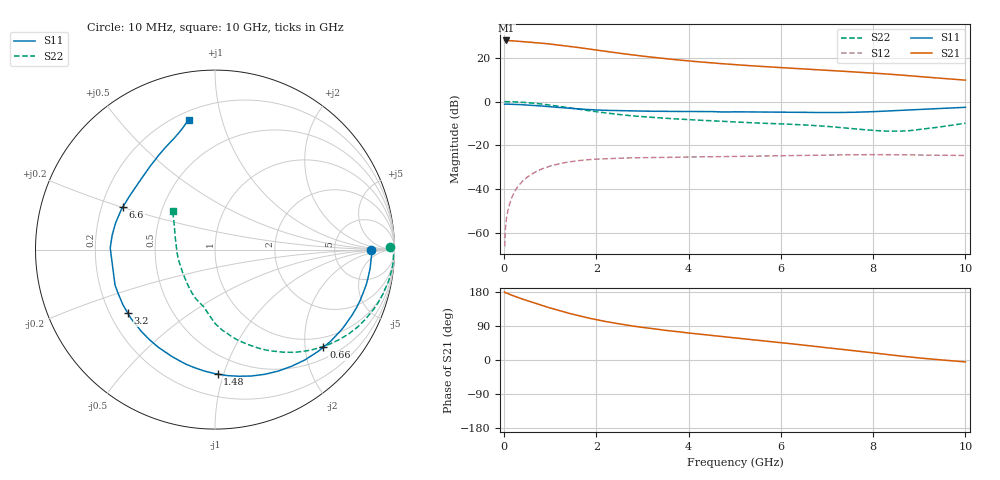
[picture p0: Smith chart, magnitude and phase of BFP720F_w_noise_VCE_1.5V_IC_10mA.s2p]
! Infineon Technologies  Discrete & RF Semiconductors
! BFP720F
! VCE =  1.5 V,  IC =  10 mA
! Common Emitter S-Parameters:  Jan 2016
# GHz  S  MA  R  50
!  f  S11  S21  S12  S22
! GHz  MAG  ANG  MAG  ANG  MAG  ANG  MAG  ANG
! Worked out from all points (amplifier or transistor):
!   233 points, 10 MHz to 10 GHz, reference 50 ohm
!   highest |S21| = 27.9 dB at 50 MHz (marker M1)
!   |S21| within 3 dB of that: start of sweep to 1.522 GHz
!   unconditionally stable (mu >= 1): start of sweep to 12.77 MHz; 6.845 GHz to end of sweep
!   at 200 MHz: K = 0.05, MSG = 35.0 dB, |S12| = -42.3 dB
!   at 1.74 GHz: K = 0.31, MSG = 25.5 dB, |S12| = -26.7 dB
!   at 10 GHz: K = 1.29, MAG = 14.0 dB, |S12| = -24.6 dB
!   lowest NFmin = 0.55 dB at 450 MHz
!   S11 on the Smith chart (normalised r, x): 10 MHz: 15, -0; 660 MHz: 0.75, -2.40; 1.48 GHz: 0.36, -0.96; 3.2 GHz: 0.27, -0.30; 6.6 GHz: 0.29, +0.20; 10 GHz: 0.25, +0.79
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0.01  0.8711 -0.1  24.75 179.6  0.0005 -0.6  0.9752 0.8
0.02  0.8746 -1.2  24.58 177.5  0.0009 89.0  0.996 -1.3
0.05  0.8715 -3.3  24.82 177.0  0.0021 87.1  0.9948 -2.0
0.195  0.8653 -12.7  24.23 169.6  0.0075 83.1  0.987 -8.2
0.34  0.8527 -22.0  23.58 163.2  0.013 77.7  0.9697 -14.3
0.66  0.8126 -42.0  22.16 150.2  0.0241 66.4  0.9116 -27.0
0.8  0.793 -50.8  21.61 144.6  0.0284 61.8  0.8808 -32.2
1  0.763 -62.5  20.5 137.1  0.0338 55.5  0.8293 -39.3
1.22  0.7294 -75.0  19.26 129.4  0.0386 49.2  0.7708 -46.6
1.48  0.6936 -88.8  17.79 120.9  0.043 42.8  0.7028 -54.5
1.68  0.6699 -98.7  16.72 114.8  0.0456 38.3  0.6535 -60.0
2  0.6417 -112.2  15.01 106.3  0.0486 32.3  0.5857 -67.8
2.4  0.6208 -125.9  13.11 97.3  0.0508 26.4  0.5191 -76.0
2.8  0.6073 -136.3  11.55 89.4  0.0519 22.1  0.4693 -82.0
3.2  0.601 -144.0  10.33 83.1  0.0528 19.0  0.4367 -86.5
3.4  0.5986 -147.2  9.781 79.9  0.0532 17.6  0.4223 -88.5
4  0.5925 -155.3  8.453 71.2  0.0541 14.2  0.386 -92.7
5.1  0.582 177.8  6.845 57.1  0.0562 10.0  0.3386 -98.9
6.6  0.5653 155.0  5.477 37.8  0.0594 4.5  0.2889 -112.7
6.8  0.5625 151.4  5.321 35.1  0.0597 3.7  0.2798 -115.6
8.4  0.6154 120.0  4.179 13.1  0.0612 -3.3  0.211 -164.1
10  0.7387 101.5  3.081 -5.1  0.0588 -7.4  0.32 137.6
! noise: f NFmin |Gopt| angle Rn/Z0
0.45  0.55  0.3  3  0.33
0.9  0.58  0.27  8  0.12
1.8  0.62  0.25  13  0.15
2.4  0.65  0.22  23  0.14
5.5  0.8  0.2  43  0.09
10  1  0.28  -91  0.17
